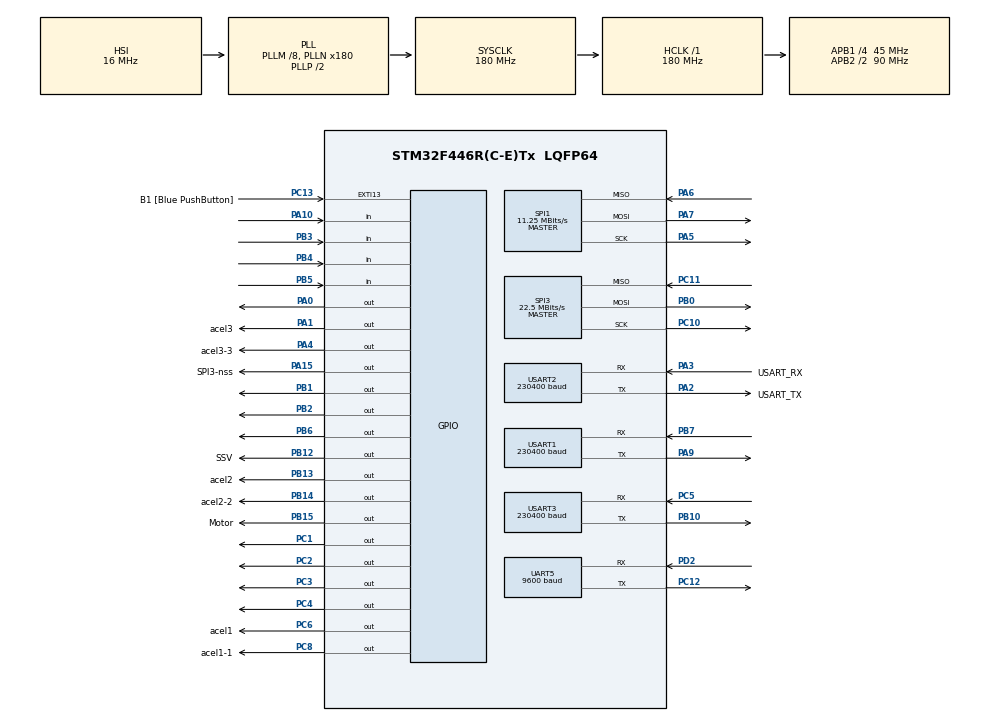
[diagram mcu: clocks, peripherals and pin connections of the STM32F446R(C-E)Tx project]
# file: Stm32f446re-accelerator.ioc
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Dma.Request0=USART3_RX
Dma.Request1=USART2_TX
Dma.Request2=USART1_RX
Dma.Request3=UART5_RX
Dma.UART5_RX.3.Direction=DMA_PERIPH_TO_MEMORY
Dma.UART5_RX.3.FIFOMode=DMA_FIFOMODE_DISABLE
Dma.UART5_RX.3.Instance=DMA1_Stream0
Dma.UART5_RX.3.MemDataAlignment=DMA_MDATAALIGN_BYTE
Dma.UART5_RX.3.MemInc=DMA_MINC_ENABLE
Dma.UART5_RX.3.Mode=DMA_CIRCULAR
Dma.UART5_RX.3.PeriphDataAlignment=DMA_PDATAALIGN_BYTE
Dma.UART5_RX.3.PeriphInc=DMA_PINC_DISABLE
Dma.UART5_RX.3.Priority=DMA_PRIORITY_LOW
Dma.USART1_RX.2.Direction=DMA_PERIPH_TO_MEMORY
Dma.USART1_RX.2.FIFOMode=DMA_FIFOMODE_DISABLE
Dma.USART1_RX.2.Instance=DMA2_Stream2
Dma.USART1_RX.2.MemDataAlignment=DMA_MDATAALIGN_BYTE
Dma.USART1_RX.2.MemInc=DMA_MINC_ENABLE
Dma.USART1_RX.2.Mode=DMA_CIRCULAR
Dma.USART1_RX.2.PeriphDataAlignment=DMA_PDATAALIGN_BYTE
Dma.USART1_RX.2.PeriphInc=DMA_PINC_DISABLE
Dma.USART1_RX.2.Priority=DMA_PRIORITY_LOW
Dma.USART2_TX.1.Direction=DMA_MEMORY_TO_PERIPH
Dma.USART2_TX.1.FIFOMode=DMA_FIFOMODE_DISABLE
Dma.USART2_TX.1.Instance=DMA1_Stream6
Dma.USART2_TX.1.MemDataAlignment=DMA_MDATAALIGN_BYTE
Dma.USART2_TX.1.MemInc=DMA_MINC_ENABLE
Dma.USART2_TX.1.Mode=DMA_NORMAL
Dma.USART2_TX.1.PeriphDataAlignment=DMA_PDATAALIGN_BYTE
Dma.USART2_TX.1.PeriphInc=DMA_PINC_DISABLE
Dma.USART2_TX.1.Priority=DMA_PRIORITY_LOW
Dma.USART3_RX.0.Direction=DMA_PERIPH_TO_MEMORY
Dma.USART3_RX.0.FIFOMode=DMA_FIFOMODE_DISABLE
Dma.USART3_RX.0.Instance=DMA1_Stream1
Dma.USART3_RX.0.MemDataAlignment=DMA_MDATAALIGN_BYTE
Dma.USART3_RX.0.MemInc=DMA_MINC_ENABLE
Dma.USART3_RX.0.Mode=DMA_CIRCULAR
Dma.USART3_RX.0.PeriphDataAlignment=DMA_PDATAALIGN_BYTE
Dma.USART3_RX.0.PeriphInc=DMA_PINC_DISABLE
Dma.USART3_RX.0.Priority=DMA_PRIORITY_LOW
Mcu.Family=STM32F4
Mcu.Name=STM32F446R(C-E)Tx
Mcu.Package=LQFP64
NVIC.DMA1_Stream0_IRQn=true\:0\:0\:false\:false\:true\:false\:true
NVIC.DMA1_Stream1_IRQn=true\:0\:0\:false\:false\:true\:false\:true
NVIC.DMA1_Stream6_IRQn=true\:0\:0\:false\:false\:true\:false\:true
NVIC.DMA2_Stream2_IRQn=true\:0\:0\:false\:false\:true\:false\:true
NVIC.PriorityGroup=NVIC_PRIORITYGROUP_4
NVIC.SPI3_IRQn=true\:0\:0\:false\:false\:true\:true\:true
NVIC.TIM1_UP_TIM10_IRQn=true\:0\:0\:false\:false\:true\:true\:true
NVIC.TIM6_DAC_IRQn=true\:0\:0\:false\:false\:true\:true\:true
NVIC.TIM7_IRQn=true\:0\:0\:false\:false\:true\:true\:true
NVIC.UART5_IRQn=true\:0\:0\:false\:false\:true\:true\:true
NVIC.USART1_IRQn=true\:0\:0\:false\:false\:true\:true\:true
NVIC.USART2_IRQn=true\:0\:0\:false\:false\:true\:true\:true
NVIC.USART3_IRQn=true\:0\:0\:false\:false\:true\:true\:true
PA0-WKUP.Signal=GPIO_Output
PA1.GPIO_Label=acel3
PA1.Signal=GPIO_Output
PA10.Signal=GPIO_Input
PA13.GPIO_Label=TMS
PA13.Mode=Serial_Wire
PA13.Signal=SYS_JTMS-SWDIO
PA14.GPIO_Label=TCK
PA14.Mode=Serial_Wire
PA14.Signal=SYS_JTCK-SWCLK
PA15.GPIO_Label=SPI3-nss
PA15.Signal=GPIO_Output
PA2.GPIO_Label=USART_TX
PA2.Mode=Asynchronous
PA2.Signal=USART2_TX
PA3.GPIO_Label=USART_RX
PA3.Mode=Asynchronous
PA3.Signal=USART2_RX
PA4.GPIO_Label=acel3-3
PA4.Signal=GPIO_Output
PA5.Mode=Full_Duplex_Master
PA5.Signal=SPI1_SCK
PA6.Mode=Full_Duplex_Master
PA6.Signal=SPI1_MISO
PA7.Mode=Full_Duplex_Master
PA7.Signal=SPI1_MOSI
PA9.Mode=Asynchronous
PA9.Signal=USART1_TX
PB0.GPIO_PuPd=GPIO_PULLUP
PB0.Mode=Full_Duplex_Master
PB0.Signal=SPI3_MOSI
PB1.GPIO_PuPd=GPIO_PULLUP
PB1.Signal=GPIO_Output
PB10.Mode=Asynchronous
PB10.Signal=USART3_TX
PB12.GPIO_Label=SSV
PB12.Signal=GPIO_Output
PB13.GPIO_Label=acel2
PB13.GPIO_Speed=GPIO_SPEED_FREQ_VERY_HIGH
PB13.PinState=GPIO_PIN_RESET
PB13.Signal=GPIO_Output
PB14.GPIO_Label=acel2-2
PB14.Signal=GPIO_Output
PB15.GPIO_Label=Motor
PB15.Signal=GPIO_Output
PB2.Signal=GPIO_Output
PB3.Signal=GPIO_Input
PB4.Signal=GPIO_Input
PB5.Signal=GPIO_Input
PB6.Signal=GPIO_Output
PB7.Mode=Asynchronous
PB7.Signal=USART1_RX
PC1.GPIO_PuPd=GPIO_NOPULL
PC1.GPIO_Speed=GPIO_SPEED_FREQ_VERY_HIGH
PC1.PinState=GPIO_PIN_SET
PC1.Signal=GPIO_Output
PC10.Mode=Full_Duplex_Master
PC10.Signal=SPI3_SCK
PC11.GPIO_PuPd=GPIO_PULLUP
PC11.Mode=Full_Duplex_Master
PC11.Signal=SPI3_MISO
PC12.Mode=Asynchronous
PC12.Signal=UART5_TX
PC13.GPIO_Label=B1 [Blue PushButton]
PC13.GPIO_ModeDefaultEXTI=GPIO_MODE_IT_FALLING
PC13.Signal=GPXTI13
PC14-OSC32_IN.Mode=LSE-External-Oscillator
PC14-OSC32_IN.Signal=RCC_OSC32_IN
PC15-OSC32_OUT.Mode=LSE-External-Oscillator
PC15-OSC32_OUT.Signal=RCC_OSC32_OUT
PC2.GPIO_Speed=GPIO_SPEED_FREQ_VERY_HIGH
PC2.PinState=GPIO_PIN_SET
PC2.Signal=GPIO_Output
PC3.GPIO_Speed=GPIO_SPEED_FREQ_VERY_HIGH
PC3.PinState=GPIO_PIN_SET
PC3.Signal=GPIO_Output
PC4.Signal=GPIO_Output
PC5.Mode=Asynchronous
PC5.Signal=USART3_RX
PC6.GPIO_Label=acel1
PC6.Signal=GPIO_Output
PC8.GPIO_Label=acel1-1
PC8.Signal=GPIO_Output
PD2.Mode=Asynchronous
PD2.Signal=UART5_RX
ProjectManager.HeapSize=0x200
ProjectManager.StackSize=0x400
ProjectManager.TargetToolchain=STM32CubeIDE
RCC.48MHZClocksFreq_Value=84000000
RCC.AHBFreq_Value=180000000
RCC.APB1CLKDivider=RCC_HCLK_DIV4
RCC.APB1Freq_Value=45000000
RCC.APB1TimFreq_Value=90000000
RCC.APB2CLKDivider=RCC_HCLK_DIV2
RCC.APB2Freq_Value=90000000
RCC.APB2TimFreq_Value=180000000
RCC.CortexFreq_Value=180000000
RCC.FLatency-AdvancedSettings=FLASH_LATENCY_5
RCC.HCLKFreq_Value=180000000
RCC.HSE_VALUE=8000000
RCC.HSI_VALUE=16000000
RCC.PLLM=8
RCC.PLLN=180
RCC.SYSCLKFreq_VALUE=180000000
RCC.SYSCLKSource=RCC_SYSCLKSOURCE_PLLCLK
RCC.USBFreq_Value=180000000
RCC.VCOOutputFreq_Value=360000000
SPI1.BaudRatePrescaler=SPI_BAUDRATEPRESCALER_8
SPI1.CalculateBaudRate=11.25 MBits/s
SPI1.Direction=SPI_DIRECTION_2LINES
SPI1.Mode=SPI_MODE_MASTER
SPI1.VirtualType=VM_MASTER
SPI3.BaudRatePrescaler=SPI_BAUDRATEPRESCALER_2
SPI3.CalculateBaudRate=22.5 MBits/s
SPI3.Direction=SPI_DIRECTION_2LINES
SPI3.Mode=SPI_MODE_MASTER
SPI3.VirtualType=VM_MASTER
TIM10.AutoReloadPreload=TIM_AUTORELOAD_PRELOAD_ENABLE
TIM10.Period=10000
TIM10.Prescaler=9000-1
TIM6.AutoReloadPreload=TIM_AUTORELOAD_PRELOAD_ENABLE
TIM6.Period=1000
TIM6.Prescaler=9000-1
TIM7.AutoReloadPreload=TIM_AUTORELOAD_PRELOAD_ENABLE
TIM7.Period=1000
TIM7.Prescaler=9000-1
UART5.BaudRate=9600
UART5.Parity=PARITY_EVEN
UART5.VirtualMode=Asynchronous
UART5.WordLength=WORDLENGTH_9B
USART1.BaudRate=230400
USART1.VirtualMode=VM_ASYNC
USART2.BaudRate=230400
USART2.VirtualMode=VM_ASYNC
USART3.BaudRate=230400
USART3.VirtualMode=VM_ASYNC
VP_FATFS_VS_Generic.Mode=User_defined
VP_TIM10_VS_ClockSourceINT.Mode=Enable_Timer
VP_TIM6_VS_ClockSourceINT.Mode=Enable_Timer
VP_TIM7_VS_ClockSourceINT.Mode=Enable_Timer
board=NUCLEO-F446RE

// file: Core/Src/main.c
/* USER CODE BEGIN Header */
/**
  ******************************************************************************
  * @file           : main.c
  * @brief          : Main program body
  ******************************************************************************
  * @attention
  *
  * <h2><center>&copy; Copyright (c) 2020 STMicroelectronics.
  * All rights reserved.</center></h2>
  *
  * This software component is licensed by ST under BSD 3-Clause license,
  * the "License"; You may not use this file except in compliance with the
  * License. You may obtain a copy of the License at:
  *                        opensource.org/licenses/BSD-3-Clause
  *
  ******************************************************************************
  */
/* USER CODE END Header */

#include "main.h"
#include "fatfs.h"

/* USER CODE BEGIN Includes */
#include <string.h>
#include <stdarg.h>
#include "sdcard.h"
/* USER CODE END Includes */

SPI_HandleTypeDef hspi1;
SPI_HandleTypeDef hspi3;

TIM_HandleTypeDef htim6;
TIM_HandleTypeDef htim7;
TIM_HandleTypeDef htim10;

UART_HandleTypeDef huart5;
UART_HandleTypeDef huart1;
UART_HandleTypeDef huart2;
UART_HandleTypeDef huart3;
DMA_HandleTypeDef hdma_uart5_rx;
DMA_HandleTypeDef hdma_usart1_rx;
DMA_HandleTypeDef hdma_usart2_tx;
DMA_HandleTypeDef hdma_usart3_rx;

/* USER CODE BEGIN PV */

/*
 *  Режимы работы светодиодов:
 *
 *  1) Поочередное включение, затем выключение всех сразу, кроме 3го - �?ндикация того, что УС�? ПРД включился
 *  2) 1 светодиод горит - сд карта исправна, 1 светодиод не горит - проблема с сд картой
 *  3) 2 светодиод горит - прием с ЦКТ идет, 2 светодиод не горит - данные с ЦКТ не приходят
 *  4) 3 светодиод горит - остается гореть после включения УС�? ПРД
 */

/* USER CODE END PV */

void SystemClock_Config(void);
static void MX_GPIO_Init(void);
static void MX_DMA_Init(void);
static void MX_SPI1_Init(void);
static void MX_USART2_UART_Init(void);
static void MX_USART3_UART_Init(void);
static void MX_USART1_UART_Init(void);
static void MX_SPI3_Init(void);
static void MX_UART5_Init(void);
static void MX_TIM6_Init(void);
static void MX_TIM7_Init(void);
static void MX_TIM10_Init(void);
/* USER CODE BEGIN PFP */
// �?ндекс комманды в массиве, пришедшего по радиоканалу
#define CommIndex 0
// Количество элементов в массиве для радиопередачи
#define RadioMaxBuff 42
// Количество элементов, приходящих с ЦКТ
#define MaxBuffOfCKT 43
// Количество пакетов, через которые мы начинаем записывать
#define CountOfWriteToSD 5
/* USER CODE END PFP */

/* USER CODE BEGIN 0 */

//  FATfs
/////////////////////////
FATFS FatFs;
//File object
FIL fil;
// Результат операций над SD картой
FRESULT fres;
// Для записи
UINT bytesWrote;
// Для чтения
UINT bytesRead;
/////////////////////////
// время отсчета микрконтроллера в милисекундах
uint32_t reciveTime=0;
// CRC16
uint16_t CRC_c=0;
// Массив приемопередачи по радиоканалу
uint8_t TX_RX_Radio[RadioMaxBuff];
// Разрешение на запись на SD карту
uint8_t ResolveSDWrite=0;
// Готовность к записи на SD карту
uint8_t ReadyToWrite=0;
// Массив данных, пришедших с ЦКТ
uint8_t BuffCkt[MaxBuffOfCKT];
// Массив на запись на SD карту ( буфер посредник)
uint8_t BuffMidW[MaxBuffOfCKT];
// Для синхронизации с ЦКТ
uint8_t readFlag;
// Буфер для записи на sd карту данных с ЦКТ (после парсера)
uint8_t SDbufWrite[163];
// Счетчик данного файла
uint8_t CountFileNow=0;
// Массив с названием файла
const char MassFileName[10][10]=
   {
    {"Data0.txt\0"},
	{"Data1.txt\0"},
	{"Data2.txt\0"},
	{"Data3.txt\0"},
	{"Data4.txt\0"},
	{"Data5.txt\0"},
	{"Data6.txt\0"},
	{"Data7.txt\0"},
	{"Data8.txt\0"},
	{"Data9.txt\0"}
   };
// Передача или прием по радио в данный момент
uint8_t ModeRadio=0;
// Массив чтения с SD
uint8_t BuffSDRead[50];
// Массив для записи количества созданых файлов на SD в файл InfoSD.txt
uint8_t BuffSDfileinfo[30]="\t\tFile info\nNumber of files:X;";
//Массив для записи данных на SD в  файл InfoSD.txt
uint8_t BufFileInfoWr[30];
// Задержка в мс
uint32_t Ms_Delay=0;
// Начало задержки
uint8_t Delay_start=0;
// Метка об окончании задержки
uint8_t Timeout=0;
// Длительность задержки
uint32_t TimeDelay=5000;
// Счетчик пришедших с ЦКт посылок
uint8_t CountCKT=0;

// Таблица CRC16
const unsigned short Crc16Table[256] = {
    0x0000, 0x1021, 0x2042, 0x3063, 0x4084, 0x50A5, 0x60C6, 0x70E7,
    0x8108, 0x9129, 0xA14A, 0xB16B, 0xC18C, 0xD1AD, 0xE1CE, 0xF1EF,
    0x1231, 0x0210, 0x3273, 0x2252, 0x52B5, 0x4294, 0x72F7, 0x62D6,
    0x9339, 0x8318, 0xB37B, 0xA35A, 0xD3BD, 0xC39C, 0xF3FF, 0xE3DE,
    0x2462, 0x3443, 0x0420, 0x1401, 0x64E6, 0x74C7, 0x44A4, 0x5485,
    0xA56A, 0xB54B, 0x8528, 0x9509, 0xE5EE, 0xF5CF, 0xC5AC, 0xD58D,
    0x3653, 0x2672, 0x1611, 0x0630, 0x76D7, 0x66F6, 0x5695, 0x46B4,
    0xB75B, 0xA77A, 0x9719, 0x8738, 0xF7DF, 0xE7FE, 0xD79D, 0xC7BC,
    0x48C4, 0x58E5, 0x6886, 0x78A7, 0x0840, 0x1861, 0x2802, 0x3823,
    0xC9CC, 0xD9ED, 0xE98E, 0xF9AF, 0x8948, 0x9969, 0xA90A, 0xB92B,
    0x5AF5, 0x4AD4, 0x7AB7, 0x6A96, 0x1A71, 0x0A50, 0x3A33, 0x2A12,
    0xDBFD, 0xCBDC, 0xFBBF, 0xEB9E, 0x9B79, 0x8B58, 0xBB3B, 0xAB1A,
    0x6CA6, 0x7C87, 0x4CE4, 0x5CC5, 0x2C22, 0x3C03, 0x0C60, 0x1C41,
    0xEDAE, 0xFD8F, 0xCDEC, 0xDDCD, 0xAD2A, 0xBD0B, 0x8D68, 0x9D49,
    0x7E97, 0x6EB6, 0x5ED5, 0x4EF4, 0x3E13, 0x2E32, 0x1E51, 0x0E70,
    0xFF9F, 0xEFBE, 0xDFDD, 0xCFFC, 0xBF1B, 0xAF3A, 0x9F59, 0x8F78,
    0x9188, 0x81A9, 0xB1CA, 0xA1EB, 0xD10C, 0xC12D, 0xF14E, 0xE16F,
    0x1080, 0x00A1, 0x30C2, 0x20E3, 0x5004, 0x4025, 0x7046, 0x6067,
    0x83B9, 0x9398, 0xA3FB, 0xB3DA, 0xC33D, 0xD31C, 0xE37F, 0xF35E,
    0x02B1, 0x1290, 0x22F3, 0x32D2, 0x4235, 0x5214, 0x6277, 0x7256,
    0xB5EA, 0xA5CB, 0x95A8, 0x8589, 0xF56E, 0xE54F, 0xD52C, 0xC50D,
    0x34E2, 0x24C3, 0x14A0, 0x0481, 0x7466, 0x6447, 0x5424, 0x4405,
    0xA7DB, 0xB7FA, 0x8799, 0x97B8, 0xE75F, 0xF77E, 0xC71D, 0xD73C,
    0x26D3, 0x36F2, 0x0691, 0x16B0, 0x6657, 0x7676, 0x4615, 0x5634,
    0xD94C, 0xC96D, 0xF90E, 0xE92F, 0x99C8, 0x89E9, 0xB98A, 0xA9AB,
    0x5844, 0x4865, 0x7806, 0x6827, 0x18C0, 0x08E1, 0x3882, 0x28A3,
    0xCB7D, 0xDB5C, 0xEB3F, 0xFB1E, 0x8BF9, 0x9BD8, 0xABBB, 0xBB9A,
    0x4A75, 0x5A54, 0x6A37, 0x7A16, 0x0AF1, 0x1AD0, 0x2AB3, 0x3A92,
    0xFD2E, 0xED0F, 0xDD6C, 0xCD4D, 0xBDAA, 0xAD8B, 0x9DE8, 0x8DC9,
    0x7C26, 0x6C07, 0x5C64, 0x4C45, 0x3CA2, 0x2C83, 0x1CE0, 0x0CC1,
    0xEF1F, 0xFF3E, 0xCF5D, 0xDF7C, 0xAF9B, 0xBFBA, 0x8FD9, 0x9FF8,
    0x6E17, 0x7E36, 0x4E55, 0x5E74, 0x2E93, 0x3EB2, 0x0ED1, 0x1EF0
};
// Расчет CRC16
unsigned short Crc16(unsigned char * pcBlock, unsigned short len)
{
    unsigned short crc = 0xFFFF;

    while (len--)
        crc = (crc << 8) ^ Crc16Table[(crc >> 8) ^ *pcBlock++];

    return crc;
}
// Функция пользовательской задержки
void UserDelayStart(uint32_t Delay)
{
	TimeDelay=Delay;
	Delay_start=1;
}
// Перевод Числа в массив
/*
Number - переводимое число
mass - массив, в который число будет переведено
startMass - начальный элемент массива
len - длина переводимого числа
*/
void uint32_TO_charmass(uint32_t Number, uint8_t *mass, uint16_t startMass, uint16_t len)
{
	for (uint16_t i = 0; i < len; i++)
	{
		mass[len - 1 - i + startMass] = Number % 10 + 48;
		Number = Number / 10;
	}
}
// Чтение количества созданных файлов из файла InfoSD.txt
uint8_t ReadNumofFileSD(void)
{
	FIL filInform;
	uint8_t Num=255;
	UINT bytesWroteInform;
	// Открываем или создаем новый файл
	fres = f_open(&filInform, "InfoSD.txt", FA_OPEN_ALWAYS | FA_READ);
	if(fres != FR_OK) // Если проблема с флешкой  выключаем 1 светодиод
	{
		HAL_GPIO_WritePin(GPIOC, GPIO_PIN_1, GPIO_PIN_SET);
		while(1);
	}
	//Читаем количество файлов
	fres=f_read(&filInform,BuffSDRead,40,&bytesRead);
	//Если на флешке не было этого файла
	if(BuffSDRead[0]=='\t' && BuffSDRead[1]=='\t' && BuffSDRead[2]=='F' && BuffSDRead[3]=='i' && BuffSDRead[4]=='l')
	{
		Num=BuffSDRead[28]-'0'; // количество файлов
	}
	fres=f_close(&filInform);
	if(fres != FR_OK) // Если проблема с флешкой  выключаем 1 светодиод
	{
		HAL_GPIO_WritePin(GPIOC, GPIO_PIN_1, GPIO_PIN_SET);
		while(1);
	}
	if(Num==255)
	{
		Num=0;
		fres = f_open(&filInform, "InfoSD.txt", FA_OPEN_ALWAYS | FA_WRITE);
		// Количество файлов
		fres = f_write(&filInform, "\t\tFile info\nNumber of files:0;\n", 31, &bytesWroteInform);
		// �?стория команд
		fres = f_write(&filInform, "\t\tCommand History\nTime\tcommand\n", 31, &bytesWroteInform);
		fres=f_close(&filInform);
		if(fres != FR_OK) // Если проблема с флешкой  выключаем 1 светодиод
		{
			HAL_GPIO_WritePin(GPIOC, GPIO_PIN_1, GPIO_PIN_SET);
			while(1);
		}
	}
	HAL_GPIO_WritePin(GPIOC, GPIO_PIN_1, GPIO_PIN_RESET);

	return Num;
}
// Запись в фаил  InfoSD.txt количество созданных файлов
void WriteNumofFileSD(uint8_t Num)
{
	FIL filInform;
	UINT bytesWroteInform;
	// Открываем или создаем новый файл
	fres = f_open(&filInform, "InfoSD.txt", FA_OPEN_ALWAYS | FA_WRITE);
	if(fres != FR_OK) // Если проблема с флешкой  выключаем 1 светодиод
	{
		HAL_GPIO_WritePin(GPIOC, GPIO_PIN_1, GPIO_PIN_SET);
		while(1);
	}
	//Записываем количество данных
	BuffSDfileinfo[28]=Num+'0';
	fres = f_write(&filInform, BuffSDfileinfo, 30, &bytesWroteInform);
	fres=f_close(&filInform);
	if(fres != FR_OK) // Если проблема с флешкой  выключаем 1 светодиод
	{
		HAL_GPIO_WritePin(GPIOC, GPIO_PIN_1, GPIO_PIN_SET);
		while(1);
	}
	HAL_GPIO_WritePin(GPIOC, GPIO_PIN_1, GPIO_PIN_RESET);
}
// Запись в файл InfoSD.txt команд и времени
void CommandHistoryWrite(uint8_t command)
{
	FIL filInform;
	UINT bytesWroteInform;
	// Открываем или создаем новый файл
	fres = f_open(&filInform, "InfoSD.txt", FA_OPEN_APPEND | FA_WRITE);
	if(fres != FR_OK) // Если проблема с флешкой  выключаем 1 светодиод
	{
		HAL_GPIO_WritePin(GPIOC, GPIO_PIN_1, GPIO_PIN_SET);
		while(1);
	}
	//Записываем количество данных
	//  Время в мс, когда ,прибыла команда
	uint32_t TimeHistory = HAL_GetTick();
	uint32_TO_charmass(TimeHistory, BufFileInfoWr, 0, 8);
	BufFileInfoWr[8]=' ';
	BufFileInfoWr[9]=command+'0';
	BufFileInfoWr[10]=';';
	BufFileInfoWr[11]='\n';
	fres = f_write(&filInform, BufFileInfoWr, 12, &bytesWroteInform);
	fres=f_close(&filInform);
	if(fres != FR_OK) // Если проблема с флешкой  выключаем 1 светодиод
	{
		HAL_GPIO_WritePin(GPIOC, GPIO_PIN_1, GPIO_PIN_SET);
		while(1);
	}
	HAL_GPIO_WritePin(GPIOC, GPIO_PIN_1, GPIO_PIN_RESET);
}
// Запись в файл InfoSD.txt метки о включении питания
void HistoryOnOffUSI(void)
{
	FIL filInform;
	UINT bytesWroteInform;
	// Открываем или создаем новый файл
	fres = f_open(&filInform, "InfoSD.txt", FA_OPEN_APPEND | FA_WRITE);
	if(fres != FR_OK) // Если проблема с флешкой  выключаем 1 светодиод
	{
		HAL_GPIO_WritePin(GPIOC, GPIO_PIN_1, GPIO_PIN_SET);
		while(1);
	}
	//Записываем количество данных
	fres = f_write(&filInform, "Power On\n", 9, &bytesWroteInform);
	fres=f_close(&filInform);
	if(fres != FR_OK) // Если проблема с флешкой  выключаем 1 светодиод
	{
		HAL_GPIO_WritePin(GPIOC, GPIO_PIN_1, GPIO_PIN_SET);
		while(1);
	}
	HAL_GPIO_WritePin(GPIOC, GPIO_PIN_1, GPIO_PIN_RESET);
}
// Запрет записи на SD карту и закрытие открытого файла
void StopWriteToSD(void)
{
	if(ResolveSDWrite==1)
	{
		fres=f_close(&fil);
		if(fres != FR_OK) // Если проблема с флешкой  выключаем 1 светодиод
		{
			HAL_GPIO_WritePin(GPIOC, GPIO_PIN_1, GPIO_PIN_SET);
			while(1);
		}
	}
	ResolveSDWrite=0; // закрываем доступ к записи на SD данных с ЦКТ
}
// Функция синхронизации Usartа с ЦКТ
void SyncCKT(void)
{
	// Синхронизация
	if(readFlag==1)
	{
		readFlag=0;
		HAL_Delay(2);
		HAL_UART_Abort(&huart5);
		HAL_UART_Receive_DMA(&huart5,BuffCkt, MaxBuffOfCKT);
	}
}
// Функция передачи по радиоканалу
void CommandToRadio(uint8_t Comm)
{
	for(uint8_t i=0;i<RadioMaxBuff-3;i++)
	{
		TX_RX_Radio[i+1]=BuffMidW[i+4];
	}
	// заносим в 1 элемент 4 команду
	TX_RX_Radio[0]=Comm;
	// Отсылаем ответ
	Rf96_Lora_TX_mode();
	//Подсчет CRC16
	CRC_c=Crc16(TX_RX_Radio,RadioMaxBuff-2);
	TX_RX_Radio[RadioMaxBuff-2]=(uint8_t)(CRC_c>>8);
	TX_RX_Radio[RadioMaxBuff-1]=(uint8_t)CRC_c;
	// Установка адреса TX в буфере FIFO
	Rf96_TX_FifoAdr(0x80);
	// Устанавливает указатель на адрес начала массива TX в FIFO
	Rf96_FIFO_point(0x80);
	// Очистка флагов
	Rf96_LoRaClearIrq();
	// Отправка посылки
	Rf96_LoRaTxPacket((char*)TX_RX_Radio,RadioMaxBuff);
	// следующее Прерывание будет по передаче
	ModeRadio=1;
}
// Команда начала записи на SD карту
void RXCommande1(void)
{
	// Запрещаем запись на SD
	ResolveSDWrite=0;
	// Запись в память номера файла, на котором мы находимся
	CountFileNow=ReadNumofFileSD();
	if(CountFileNow>=9) CountFileNow=0;
	CountFileNow++;
	WriteNumofFileSD(CountFileNow);
	//Записываем команду в историю
	CommandHistoryWrite(1);
	// создаем новый файл и сразу его закрываем
	fres = f_open(&fil, &(MassFileName[CountFileNow][0]), FA_CREATE_ALWAYS | FA_WRITE);
	if(fres != FR_OK) // Если проблема с флешкой  выключаем 1 светодиод
	{
		HAL_GPIO_WritePin(GPIOC, GPIO_PIN_1, GPIO_PIN_SET);
		while(1);
	}
	// Закрытие файла и sd карты
	fres=f_close(&fil);
	if(fres != FR_OK) // Если проблема с флешкой  выключаем 1 светодиод
	{
		HAL_GPIO_WritePin(GPIOC, GPIO_PIN_1, GPIO_PIN_SET);
		while(1);
	}
	// Открываем доступ к записи на SD
	ResolveSDWrite=1;
	// Отсылаем ответ
	CommandToRadio(1);
}
// Команда включения клапаном
void RXCommande2(void)
{
	// Подаем единицу на клапан
	HAL_GPIO_WritePin(GPIOB, GPIO_PIN_12, GPIO_PIN_SET);
    //Записываем команду в историю
    CommandHistoryWrite(2);
	// Отсылаем ответ
    CommandToRadio(2);
}

// Команда включения двигателя
void RXCommande3(void)
{
	// Подаем единицу на двигатель
	HAL_GPIO_WritePin(GPIOB, GPIO_PIN_15, GPIO_PIN_SET);
    //Записываем команду в историю
    CommandHistoryWrite(3);
    if(TX_RX_Radio[1]==0)
    {
        // Запускаем задержку
        UserDelayStart(5000);
    } else
    {
    	// Запускаем задержку
    	UserDelayStart((uint32_t)(TX_RX_Radio[1]*1000));
    }
	// Отсылаем ответ
    CommandToRadio(3);
}
// Команда - запрос на отправку данных
void RXCommande4(void)
{
	// Отсылаем ответ
	CommandToRadio(4);
}
// Команда начала закрытия файла на SD карте
void RXCommande5(void)
{
	// запрещаем запись на SD
	ResolveSDWrite=0;
    //Записываем команду в историю
    CommandHistoryWrite(5);
    // Отсылаем ответ
    CommandToRadio(5);
}
// Команда закрытия клапана
void RXCommande6(void)
{
	// Подаем единицу на клапан
	HAL_GPIO_WritePin(GPIOB, GPIO_PIN_12, GPIO_PIN_RESET);
    //Записываем команду в историю
    CommandHistoryWrite(6);
	// Отсылаем ответ
    CommandToRadio(6);
}
// Команда закрытия клапана
void RXCommande7(void)
{
	// Подаем единицу на оптопару
	HAL_GPIO_WritePin(GPIOB, GPIO_PIN_2, GPIO_PIN_SET);
    //Записываем команду в историю
    CommandHistoryWrite(7);
	// Отсылаем ответ
    CommandToRadio(7);
}
// Команда закрытия клапана
void RXCommande8(void)
{
	// Подаем нуля на оптопару
	HAL_GPIO_WritePin(GPIOB, GPIO_PIN_2, GPIO_PIN_RESET);
    //Записываем команду в историю
    CommandHistoryWrite(8);
	// Отсылаем ответ
    CommandToRadio(8);
}
// Парсер
void DataConv(void)
{
	// Запись времени в буфер
	uint32_TO_charmass(reciveTime, SDbufWrite, 0, 8);
	for(uint8_t i=0;i<38;i++)
	{
		uint32_TO_charmass(BuffMidW[i+4], SDbufWrite, 9+i*4, 3);
		SDbufWrite[8+i*4]=',';
	}
	SDbufWrite[160]='\n';
}
// Расчет CRC8 с ЦКТ
uint8_t CKTcrc(uint8_t* data, uint8_t len)
{
	uint8_t sign=0;
	for(uint8_t i=4;i<len;i++)
	{
		sign+=data[i];
		if(sign & 0x80)
		{
			sign=sign<<1;
			sign|=0x01;
		} else sign=sign<<1;
	}
	return sign;
}
/* USER CODE END 0 */

int main(void)
{

  /* MCU Configuration--------------------------------------------------------*/

  /* Reset of all peripherals, Initializes the Flash interface and the Systick. */
  HAL_Init();

  /* Configure the system clock */
  SystemClock_Config();

  /* Initialize all configured peripherals */
  MX_GPIO_Init();
  MX_DMA_Init();
  MX_SPI1_Init();
  MX_USART2_UART_Init();
  MX_USART3_UART_Init();
  MX_USART1_UART_Init();
  MX_FATFS_Init();
  MX_SPI3_Init();
  MX_UART5_Init();
  MX_TIM6_Init();
  MX_TIM7_Init();
  MX_TIM10_Init();
  /* USER CODE BEGIN 2 */

	// �?ндикация включения УС�? ПРД
	HAL_GPIO_WritePin(GPIOC, GPIO_PIN_1, GPIO_PIN_RESET);
	HAL_Delay(300);
	HAL_GPIO_WritePin(GPIOC, GPIO_PIN_2, GPIO_PIN_RESET);
	HAL_Delay(300);
	HAL_GPIO_WritePin(GPIOC, GPIO_PIN_3, GPIO_PIN_RESET);
	HAL_Delay(300);
	HAL_GPIO_WritePin(GPIOC, GPIO_PIN_1, GPIO_PIN_SET);
	HAL_GPIO_WritePin(GPIOC, GPIO_PIN_2, GPIO_PIN_SET);

    // Монтирование флешки
	fres = f_mount(&FatFs, "", 1); //1=mount now
	if (fres != FR_OK)
	{ // Если проблема с флешкой  выключаем 1 светодиод
		HAL_GPIO_WritePin(GPIOC, GPIO_PIN_1, GPIO_PIN_SET);
		while(1);
	}
	// Создание файла infoSD.txt
	ReadNumofFileSD();
	// Запись в историю информацию о подаче питания
	HistoryOnOffUSI();
	// �?нициализация радиоканала (sx1272)
	Rf96_Lora_init();
	// Режим приема
	Rf96_Lora_RX_mode();
	// Запуск приема в дма с аксселерометров
	HAL_UART_Receive_DMA(&huart5, BuffCkt, MaxBuffOfCKT);
    // Запуск таймера с целью определения подключения ЦКТ
    HAL_TIM_Base_Start_IT(&htim10);

  /* USER CODE END 2 */

  /* Infinite loop */
  /* USER CODE BEGIN WHILE */
  while (1)
  {
		// Синхронизация с ЦКТ
	    SyncCKT();
	    // Прерывание по приему по радиоканалу
		if(Get_NIRQ_Di0())
		{
			if(ModeRadio==0) // если прерывание по приему
			{
            // Достаем посылку из буфера
			Rf96_DataRX_From_FiFO((char*)TX_RX_Radio);
			// Считаем CRC
			CRC_c=(TX_RX_Radio[RadioMaxBuff-2]<<8)+TX_RX_Radio[RadioMaxBuff-1];
			// Очистка флагов
			Rf96_LoRaClearIrq();
			// Если CRC совпадает
			if(CRC_c==Crc16(TX_RX_Radio, RadioMaxBuff-2))
			{
				switch(TX_RX_Radio[CommIndex])
				{
				case 1:   // Команда начала записи: Создаем файл
					RXCommande1();
					break;
				case 2:   // Команда открытия клапана
					RXCommande2();
					break;
				case 3:   // Команда запуска двигателя
					RXCommande3();
					break;
				case 4:   // Команда запроса данных
					RXCommande4();
					break;
				case 5:   // Команда закрытия файла на SD и запрет записи на SD
					RXCommande5();
					break;
				case 6:    // Команда закрытия клапана
					RXCommande6();
					break;
				case 7:// Подача еденицы на оптопару на закрытие двигателя
					RXCommande7();
					break;
				case 8: // Снятие еденицы с оптопары на закрытие двигателя
					RXCommande8();
					break;
				}
			}
			} else if(ModeRadio==1) // если прерывание по передаче
			{
				ModeRadio=0;
				// Сбрасываем флаги
				Rf96_LoRaClearIrq();
	            // Заходим в Standby
				Rf96_Standby();
			    // Ожидаем команду
			    Rf96_Lora_RX_mode();
			}
		}
		//  Если разрешена запись на Sd карту и если есть что записывать
		if(ResolveSDWrite==1 && ReadyToWrite==1)
		{
			// Запись на SD
			DataConv();
			// создаем новый файл
			fres = f_open(&fil, &(MassFileName[CountFileNow][0]), FA_OPEN_APPEND | FA_WRITE);
			if(fres != FR_OK) // Если проблема с флешкой  выключаем 1 светодиод
			{
				HAL_GPIO_WritePin(GPIOC, GPIO_PIN_1, GPIO_PIN_SET);
				while(1);
			}
			fres = f_write(&fil, SDbufWrite, 161, &bytesWrote);
			if(fres != FR_OK) // Если проблема с флешкой  выключаем 1 светодиод
			{
				HAL_GPIO_WritePin(GPIOC, GPIO_PIN_1, GPIO_PIN_SET);
				while(1);
			}
			// Закрытие файла и sd карты
			fres=f_close(&fil);
			if(fres != FR_OK) // Если проблема с флешкой  выключаем 1 светодиод
			{
				HAL_GPIO_WritePin(GPIOC, GPIO_PIN_1, GPIO_PIN_SET);
				while(1);
			}
            // Нечего записывать
			ReadyToWrite=0;
		}
		// Окончание задержки
		if(Timeout==1)
		{
			// Для 3 команды
			// Убираем единицу с двигателя
			HAL_GPIO_WritePin(GPIOB, GPIO_PIN_15, GPIO_PIN_RESET);
			Timeout=0;
		}

    /* USER CODE END WHILE */

  }
}

void SystemClock_Config(void)
{
  RCC_OscInitTypeDef RCC_OscInitStruct = {0};
  RCC_ClkInitTypeDef RCC_ClkInitStruct = {0};

  /** Configure the main internal regulator output voltage
  */
  __HAL_RCC_PWR_CLK_ENABLE();
  __HAL_PWR_VOLTAGESCALING_CONFIG(PWR_REGULATOR_VOLTAGE_SCALE1);
  /** Initializes the CPU, AHB and APB busses clocks
  */
  RCC_OscInitStruct.OscillatorType = RCC_OSCILLATORTYPE_HSI;
  RCC_OscInitStruct.HSIState = RCC_HSI_ON;
  RCC_OscInitStruct.HSICalibrationValue = RCC_HSICALIBRATION_DEFAULT;
  RCC_OscInitStruct.PLL.PLLState = RCC_PLL_ON;
  RCC_OscInitStruct.PLL.PLLSource = RCC_PLLSOURCE_HSI;
  RCC_OscInitStruct.PLL.PLLM = 8;
  RCC_OscInitStruct.PLL.PLLN = 180;
  RCC_OscInitStruct.PLL.PLLP = RCC_PLLP_DIV2;
  RCC_OscInitStruct.PLL.PLLQ = 2;
  RCC_OscInitStruct.PLL.PLLR = 2;
  if (HAL_RCC_OscConfig(&RCC_OscInitStruct) != HAL_OK)
  {
    Error_Handler();
  }
  /** Activate the Over-Drive mode
  */
  if (HAL_PWREx_EnableOverDrive() != HAL_OK)
  {
    Error_Handler();
  }
  /** Initializes the CPU, AHB and APB busses clocks
  */
  RCC_ClkInitStruct.ClockType = RCC_CLOCKTYPE_HCLK|RCC_CLOCKTYPE_SYSCLK
                              |RCC_CLOCKTYPE_PCLK1|RCC_CLOCKTYPE_PCLK2;
  RCC_ClkInitStruct.SYSCLKSource = RCC_SYSCLKSOURCE_PLLCLK;
  RCC_ClkInitStruct.AHBCLKDivider = RCC_SYSCLK_DIV1;
  RCC_ClkInitStruct.APB1CLKDivider = RCC_HCLK_DIV4;
  RCC_ClkInitStruct.APB2CLKDivider = RCC_HCLK_DIV2;

  if (HAL_RCC_ClockConfig(&RCC_ClkInitStruct, FLASH_LATENCY_5) != HAL_OK)
  {
    Error_Handler();
  }
}

static void MX_SPI1_Init(void)
{

  /* SPI1 parameter configuration*/
  hspi1.Instance = SPI1;
  hspi1.Init.Mode = SPI_MODE_MASTER;
  hspi1.Init.Direction = SPI_DIRECTION_2LINES;
  hspi1.Init.DataSize = SPI_DATASIZE_8BIT;
  hspi1.Init.CLKPolarity = SPI_POLARITY_LOW;
  hspi1.Init.CLKPhase = SPI_PHASE_1EDGE;
  hspi1.Init.NSS = SPI_NSS_SOFT;
  hspi1.Init.BaudRatePrescaler = SPI_BAUDRATEPRESCALER_8;
  hspi1.Init.FirstBit = SPI_FIRSTBIT_MSB;
  hspi1.Init.TIMode = SPI_TIMODE_DISABLE;
  hspi1.Init.CRCCalculation = SPI_CRCCALCULATION_DISABLE;
  hspi1.Init.CRCPolynomial = 10;
  if (HAL_SPI_Init(&hspi1) != HAL_OK)
  {
    Error_Handler();
  }

}

static void MX_SPI3_Init(void)
{

  /* SPI3 parameter configuration*/
  hspi3.Instance = SPI3;
  hspi3.Init.Mode = SPI_MODE_MASTER;
  hspi3.Init.Direction = SPI_DIRECTION_2LINES;
  hspi3.Init.DataSize = SPI_DATASIZE_8BIT;
  hspi3.Init.CLKPolarity = SPI_POLARITY_LOW;
  hspi3.Init.CLKPhase = SPI_PHASE_1EDGE;
  hspi3.Init.NSS = SPI_NSS_SOFT;
  hspi3.Init.BaudRatePrescaler = SPI_BAUDRATEPRESCALER_2;
  hspi3.Init.FirstBit = SPI_FIRSTBIT_MSB;
  hspi3.Init.TIMode = SPI_TIMODE_DISABLE;
  hspi3.Init.CRCCalculation = SPI_CRCCALCULATION_DISABLE;
  hspi3.Init.CRCPolynomial = 10;
  if (HAL_SPI_Init(&hspi3) != HAL_OK)
  {
    Error_Handler();
  }

}

static void MX_TIM6_Init(void)
{

  TIM_MasterConfigTypeDef sMasterConfig = {0};

  htim6.Instance = TIM6;
  htim6.Init.Prescaler = 9000-1;
  htim6.Init.CounterMode = TIM_COUNTERMODE_UP;
  htim6.Init.Period = 1000;
  htim6.Init.AutoReloadPreload = TIM_AUTORELOAD_PRELOAD_ENABLE;
  if (HAL_TIM_Base_Init(&htim6) != HAL_OK)
  {
    Error_Handler();
  }
  sMasterConfig.MasterOutputTrigger = TIM_TRGO_RESET;
  sMasterConfig.MasterSlaveMode = TIM_MASTERSLAVEMODE_DISABLE;
  if (HAL_TIMEx_MasterConfigSynchronization(&htim6, &sMasterConfig) != HAL_OK)
  {
    Error_Handler();
  }

}

static void MX_TIM7_Init(void)
{

  TIM_MasterConfigTypeDef sMasterConfig = {0};

  htim7.Instance = TIM7;
  htim7.Init.Prescaler = 9000-1;
  htim7.Init.CounterMode = TIM_COUNTERMODE_UP;
  htim7.Init.Period = 1000;
  htim7.Init.AutoReloadPreload = TIM_AUTORELOAD_PRELOAD_ENABLE;
  if (HAL_TIM_Base_Init(&htim7) != HAL_OK)
  {
    Error_Handler();
  }
  sMasterConfig.MasterOutputTrigger = TIM_TRGO_RESET;
  sMasterConfig.MasterSlaveMode = TIM_MASTERSLAVEMODE_DISABLE;
  if (HAL_TIMEx_MasterConfigSynchronization(&htim7, &sMasterConfig) != HAL_OK)
  {
    Error_Handler();
  }

}

static void MX_TIM10_Init(void)
{

  htim10.Instance = TIM10;
  htim10.Init.Prescaler = 9000-1;
  htim10.Init.CounterMode = TIM_COUNTERMODE_UP;
  htim10.Init.Period = 10000;
  htim10.Init.ClockDivision = TIM_CLOCKDIVISION_DIV1;
  htim10.Init.AutoReloadPreload = TIM_AUTORELOAD_PRELOAD_ENABLE;
  if (HAL_TIM_Base_Init(&htim10) != HAL_OK)
  {
    Error_Handler();
  }

}

static void MX_UART5_Init(void)
{

  huart5.Instance = UART5;
  huart5.Init.BaudRate = 9600;
  huart5.Init.WordLength = UART_WORDLENGTH_9B;
  huart5.Init.StopBits = UART_STOPBITS_1;
  huart5.Init.Parity = UART_PARITY_EVEN;
  huart5.Init.Mode = UART_MODE_TX_RX;
  huart5.Init.HwFlowCtl = UART_HWCONTROL_NONE;
  huart5.Init.OverSampling = UART_OVERSAMPLING_16;
  if (HAL_UART_Init(&huart5) != HAL_OK)
  {
    Error_Handler();
  }

}

static void MX_USART1_UART_Init(void)
{

  huart1.Instance = USART1;
  huart1.Init.BaudRate = 230400;
  huart1.Init.WordLength = UART_WORDLENGTH_8B;
  huart1.Init.StopBits = UART_STOPBITS_1;
  huart1.Init.Parity = UART_PARITY_NONE;
  huart1.Init.Mode = UART_MODE_TX_RX;
  huart1.Init.HwFlowCtl = UART_HWCONTROL_NONE;
  huart1.Init.OverSampling = UART_OVERSAMPLING_16;
  if (HAL_UART_Init(&huart1) != HAL_OK)
  {
    Error_Handler();
  }

}

static void MX_USART2_UART_Init(void)
{

  huart2.Instance = USART2;
  huart2.Init.BaudRate = 230400;
  huart2.Init.WordLength = UART_WORDLENGTH_8B;
  huart2.Init.StopBits = UART_STOPBITS_1;
  huart2.Init.Parity = UART_PARITY_NONE;
  huart2.Init.Mode = UART_MODE_TX_RX;
  huart2.Init.HwFlowCtl = UART_HWCONTROL_NONE;
  huart2.Init.OverSampling = UART_OVERSAMPLING_16;
  if (HAL_UART_Init(&huart2) != HAL_OK)
  {
    Error_Handler();
  }

}

static void MX_USART3_UART_Init(void)
{

  huart3.Instance = USART3;
  huart3.Init.BaudRate = 230400;
  huart3.Init.WordLength = UART_WORDLENGTH_8B;
  huart3.Init.StopBits = UART_STOPBITS_1;
  huart3.Init.Parity = UART_PARITY_NONE;
  huart3.Init.Mode = UART_MODE_TX_RX;
  huart3.Init.HwFlowCtl = UART_HWCONTROL_NONE;
  huart3.Init.OverSampling = UART_OVERSAMPLING_16;
  if (HAL_UART_Init(&huart3) != HAL_OK)
  {
    Error_Handler();
  }

}

static void MX_DMA_Init(void)
{

  /* DMA controller clock enable */
  __HAL_RCC_DMA1_CLK_ENABLE();
  __HAL_RCC_DMA2_CLK_ENABLE();

  /* DMA interrupt init */
  /* DMA1_Stream0_IRQn interrupt configuration */
  HAL_NVIC_SetPriority(DMA1_Stream0_IRQn, 0, 0);
  HAL_NVIC_EnableIRQ(DMA1_Stream0_IRQn);
  /* DMA1_Stream1_IRQn interrupt configuration */
  HAL_NVIC_SetPriority(DMA1_Stream1_IRQn, 0, 0);
  HAL_NVIC_EnableIRQ(DMA1_Stream1_IRQn);
  /* DMA1_Stream6_IRQn interrupt configuration */
  HAL_NVIC_SetPriority(DMA1_Stream6_IRQn, 0, 0);
  HAL_NVIC_EnableIRQ(DMA1_Stream6_IRQn);
  /* DMA2_Stream2_IRQn interrupt configuration */
  HAL_NVIC_SetPriority(DMA2_Stream2_IRQn, 0, 0);
  HAL_NVIC_EnableIRQ(DMA2_Stream2_IRQn);

}

static void MX_GPIO_Init(void)
{
  GPIO_InitTypeDef GPIO_InitStruct = {0};

  /* GPIO Ports Clock Enable */
  __HAL_RCC_GPIOC_CLK_ENABLE();
  __HAL_RCC_GPIOA_CLK_ENABLE();
  __HAL_RCC_GPIOB_CLK_ENABLE();
  __HAL_RCC_GPIOD_CLK_ENABLE();

  /*Configure GPIO pin Output Level */
  HAL_GPIO_WritePin(GPIOC, GPIO_PIN_1|GPIO_PIN_2|GPIO_PIN_3, GPIO_PIN_SET);

  /*Configure GPIO pin Output Level */
  HAL_GPIO_WritePin(GPIOA, GPIO_PIN_0|acel3_Pin|acel3_3_Pin|SPI3_nss_Pin, GPIO_PIN_RESET);

  /*Configure GPIO pin Output Level */
  HAL_GPIO_WritePin(GPIOC, GPIO_PIN_4|acel1_Pin|acel1_1_Pin, GPIO_PIN_RESET);

  /*Configure GPIO pin Output Level */
  HAL_GPIO_WritePin(GPIOB, GPIO_PIN_1|GPIO_PIN_2|SSV_Pin|acel2_Pin
                          |acel2_2_Pin|Motor_Pin|GPIO_PIN_6, GPIO_PIN_RESET);

  /*Configure GPIO pin : B1_Pin */
  GPIO_InitStruct.Pin = B1_Pin;
  GPIO_InitStruct.Mode = GPIO_MODE_IT_FALLING;
  GPIO_InitStruct.Pull = GPIO_NOPULL;
  HAL_GPIO_Init(B1_GPIO_Port, &GPIO_InitStruct);

  /*Configure GPIO pins : PC1 PC2 PC3 */
  GPIO_InitStruct.Pin = GPIO_PIN_1|GPIO_PIN_2|GPIO_PIN_3;
  GPIO_InitStruct.Mode = GPIO_MODE_OUTPUT_PP;
  GPIO_InitStruct.Pull = GPIO_NOPULL;
  GPIO_InitStruct.Speed = GPIO_SPEED_FREQ_VERY_HIGH;
  HAL_GPIO_Init(GPIOC, &GPIO_InitStruct);

  /*Configure GPIO pins : PA0 acel3_Pin acel3_3_Pin SPI3_nss_Pin */
  GPIO_InitStruct.Pin = GPIO_PIN_0|acel3_Pin|acel3_3_Pin|SPI3_nss_Pin;
  GPIO_InitStruct.Mode = GPIO_MODE_OUTPUT_PP;
  GPIO_InitStruct.Pull = GPIO_NOPULL;
  GPIO_InitStruct.Speed = GPIO_SPEED_FREQ_LOW;
  HAL_GPIO_Init(GPIOA, &GPIO_InitStruct);

  /*Configure GPIO pins : PC4 acel1_Pin acel1_1_Pin */
  GPIO_InitStruct.Pin = GPIO_PIN_4|acel1_Pin|acel1_1_Pin;
  GPIO_InitStruct.Mode = GPIO_MODE_OUTPUT_PP;
  GPIO_InitStruct.Pull = GPIO_NOPULL;
  GPIO_InitStruct.Speed = GPIO_SPEED_FREQ_LOW;
  HAL_GPIO_Init(GPIOC, &GPIO_InitStruct);

  /*Configure GPIO pin : PB1 */
  GPIO_InitStruct.Pin = GPIO_PIN_1;
  GPIO_InitStruct.Mode = GPIO_MODE_OUTPUT_PP;
  GPIO_InitStruct.Pull = GPIO_PULLUP;
  GPIO_InitStruct.Speed = GPIO_SPEED_FREQ_LOW;
  HAL_GPIO_Init(GPIOB, &GPIO_InitStruct);

  /*Configure GPIO pins : PB2 SSV_Pin acel2_2_Pin Motor_Pin
                           PB6 */
  GPIO_InitStruct.Pin = GPIO_PIN_2|SSV_Pin|acel2_2_Pin|Motor_Pin
                          |GPIO_PIN_6;
  GPIO_InitStruct.Mode = GPIO_MODE_OUTPUT_PP;
  GPIO_InitStruct.Pull = GPIO_NOPULL;
  GPIO_InitStruct.Speed = GPIO_SPEED_FREQ_LOW;
  HAL_GPIO_Init(GPIOB, &GPIO_InitStruct);

  /*Configure GPIO pin : acel2_Pin */
  GPIO_InitStruct.Pin = acel2_Pin;
  GPIO_InitStruct.Mode = GPIO_MODE_OUTPUT_PP;
  GPIO_InitStruct.Pull = GPIO_NOPULL;
  GPIO_InitStruct.Speed = GPIO_SPEED_FREQ_VERY_HIGH;
  HAL_GPIO_Init(acel2_GPIO_Port, &GPIO_InitStruct);

  /*Configure GPIO pin : PA10 */
  GPIO_InitStruct.Pin = GPIO_PIN_10;
  GPIO_InitStruct.Mode = GPIO_MODE_INPUT;
  GPIO_InitStruct.Pull = GPIO_NOPULL;
  HAL_GPIO_Init(GPIOA, &GPIO_InitStruct);

  /*Configure GPIO pins : PB3 PB4 PB5 */
  GPIO_InitStruct.Pin = GPIO_PIN_3|GPIO_PIN_4|GPIO_PIN_5;
  GPIO_InitStruct.Mode = GPIO_MODE_INPUT;
  GPIO_InitStruct.Pull = GPIO_NOPULL;
  HAL_GPIO_Init(GPIOB, &GPIO_InitStruct);

}

/* USER CODE BEGIN 4 */

// Обработчик прерываний Usartа по приему
void HAL_UART_RxCpltCallback(UART_HandleTypeDef *huart)
{
	if(huart==&huart5)
	{
		// Остановка таймера, говорящая о том, что ЦКТ подключен
		HAL_TIM_Base_Stop_IT(&htim10);
		TIM10->CNT=0;
        // Включение 2 светодиода, если ЦКТ подключен
	    HAL_GPIO_WritePin(GPIOC, GPIO_PIN_2, GPIO_PIN_RESET);
		// Если данные синхронизированы
		if(BuffCkt[0]==0x7C && BuffCkt[1]==0x6E && BuffCkt[2]==0xA1 && BuffCkt[3]==0x2C )
		{
			if(CountCKT==CountOfWriteToSD)
			{
				CountCKT=0;
				// Готов к записи
				ReadyToWrite=1;
				//  Время в мс, когда пришли данные
				reciveTime = HAL_GetTick();
				//Если CRC8 с ЦКТ совпадает
				if(BuffCkt[MaxBuffOfCKT-1]==CKTcrc(BuffCkt,MaxBuffOfCKT-1))
				{
					// Перезаписываем данные в массив посредник
					for(uint8_t i=0;i<MaxBuffOfCKT;i++)
					{
						BuffMidW[i]=BuffCkt[i];
					}
				}
			} else CountCKT++;
		} else readFlag=1;  // Если данные не синхронизированы
		// стартуем таймер для дальнейшей проверки на подключение ЦКТ
		HAL_TIM_Base_Start_IT(&htim10);
	}
}
// Обработчик прерываний таймера
void HAL_TIM_PeriodElapsedCallback(TIM_HandleTypeDef *htim)
{
	if(htim==&htim10)  // Если на ЦКТ ничего не пришло, выключаем 2 светодиод
	{
		TIM10->CNT=0;
		HAL_TIM_Base_Start_IT(&htim10);
		HAL_GPIO_WritePin(GPIOC, GPIO_PIN_2, GPIO_PIN_SET);
		HAL_UART_Abort(&huart5);
		HAL_UART_Receive_DMA(&huart5, BuffCkt, MaxBuffOfCKT);
	}
}

// Прерывание по системному таймеру
void SysTick_Handler(void)
{
  /* USER CODE BEGIN SysTick_IRQn 0 */
	if(Delay_start==1)
	{
		if(Ms_Delay<TimeDelay)
		{
			Ms_Delay++;
		}
		else
		{
			// произошло прерывание
			Timeout=1;
			Delay_start=0;
			Ms_Delay=0;
		}
	}
  /* USER CODE END SysTick_IRQn 0 */
	HAL_IncTick();
  /* USER CODE BEGIN SysTick_IRQn 1 */

  /* USER CODE END SysTick_IRQn 1 */
}
/* USER CODE END 4 */

void Error_Handler(void)
{
}

/************************ (C) COPYRIGHT STMicroelectronics *****END OF FILE****/
